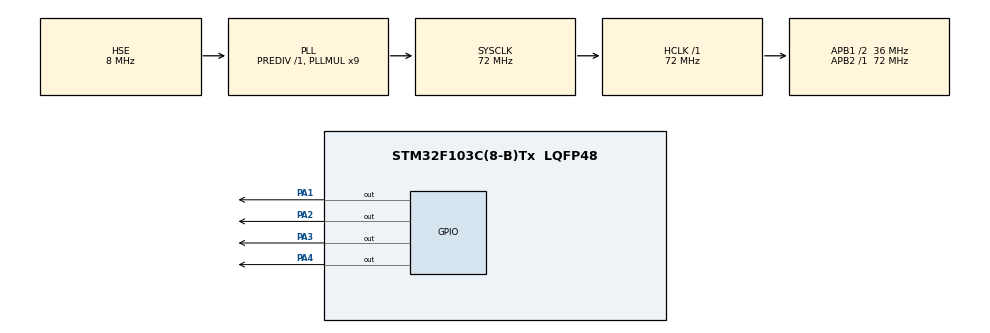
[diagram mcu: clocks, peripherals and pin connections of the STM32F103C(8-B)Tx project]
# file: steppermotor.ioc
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Mcu.Family=STM32F1
Mcu.Name=STM32F103C(8-B)Tx
Mcu.Package=LQFP48
NVIC.PriorityGroup=NVIC_PRIORITYGROUP_4
PA1.Signal=GPIO_Output
PA13.Mode=Serial_Wire
PA13.Signal=SYS_JTMS-SWDIO
PA14.Mode=Serial_Wire
PA14.Signal=SYS_JTCK-SWCLK
PA2.Signal=GPIO_Output
PA3.Signal=GPIO_Output
PA4.Signal=GPIO_Output
PD0-OSC_IN.Mode=HSE-External-Oscillator
PD0-OSC_IN.Signal=RCC_OSC_IN
PD1-OSC_OUT.Mode=HSE-External-Oscillator
PD1-OSC_OUT.Signal=RCC_OSC_OUT
ProjectManager.HeapSize=0x200
ProjectManager.StackSize=0x400
ProjectManager.TargetToolchain=STM32CubeIDE
RCC.AHBFreq_Value=72000000
RCC.APB1CLKDivider=RCC_HCLK_DIV2
RCC.APB1Freq_Value=36000000
RCC.APB1TimFreq_Value=72000000
RCC.APB2Freq_Value=72000000
RCC.APB2TimFreq_Value=72000000
RCC.HCLKFreq_Value=72000000
RCC.PLLMUL=RCC_PLL_MUL9
RCC.PLLSourceVirtual=RCC_PLLSOURCE_HSE
RCC.SYSCLKFreq_VALUE=72000000
RCC.SYSCLKSource=RCC_SYSCLKSOURCE_PLLCLK
RCC.USBFreq_Value=72000000
TIM1.Prescaler=71
VP_TIM1_VS_ClockSourceINT.Mode=Internal
board=custom

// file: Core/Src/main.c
/* USER CODE BEGIN Header */
/**
  ******************************************************************************
  * @file           : main.c
  * @brief          : Main program body
  ******************************************************************************
  * @attention
  *
  * Copyright (c) 2024 STMicroelectronics.
  * All rights reserved.
  *
  * This software is licensed under terms that can be found in the LICENSE file
  * in the root directory of this software component.
  * If no LICENSE file comes with this software, it is provided AS-IS.
  *
  ******************************************************************************
  */
/* USER CODE END Header */
#include "main.h"

TIM_HandleTypeDef htim1;

void SystemClock_Config(void);
static void MX_GPIO_Init(void);
static void MX_TIM1_Init(void);

/* USER CODE BEGIN 0 */
void delay (uint16_t us)
{
  __HAL_TIM_SET_COUNTER(&htim1, 0);
  while (__HAL_TIM_GET_COUNTER(&htim1) < us);
}
#define stepsperrev 4096
void stepper_set_rpm (int rpm)  // Set rpm--> max 13, min 1,,,  went to 14 rev/min
{
	delay(60000000/stepsperrev/rpm);
}
void stepper_half_drive (int step)
{
	switch (step){
		case 0:
			  HAL_GPIO_WritePin(GPIOA, GPIO_PIN_1, GPIO_PIN_SET);   // IN1
			  HAL_GPIO_WritePin(GPIOA, GPIO_PIN_2, GPIO_PIN_RESET);   // IN2
			  HAL_GPIO_WritePin(GPIOA, GPIO_PIN_3, GPIO_PIN_RESET);   // IN3
			  HAL_GPIO_WritePin(GPIOA, GPIO_PIN_4, GPIO_PIN_RESET);   // IN4
			  break;

		case 1:
			  HAL_GPIO_WritePin(GPIOA, GPIO_PIN_1, GPIO_PIN_SET);   // IN1
			  HAL_GPIO_WritePin(GPIOA, GPIO_PIN_2, GPIO_PIN_SET);   // IN2
			  HAL_GPIO_WritePin(GPIOA, GPIO_PIN_3, GPIO_PIN_RESET);   // IN3
			  HAL_GPIO_WritePin(GPIOA, GPIO_PIN_4, GPIO_PIN_RESET);   // IN4
			  break;

		case 2:
			  HAL_GPIO_WritePin(GPIOA, GPIO_PIN_1, GPIO_PIN_RESET);   // IN1
			  HAL_GPIO_WritePin(GPIOA, GPIO_PIN_2, GPIO_PIN_SET);   // IN2
			  HAL_GPIO_WritePin(GPIOA, GPIO_PIN_3, GPIO_PIN_RESET);   // IN3
			  HAL_GPIO_WritePin(GPIOA, GPIO_PIN_4, GPIO_PIN_RESET);   // IN4
			  break;

		case 3:
			  HAL_GPIO_WritePin(GPIOA, GPIO_PIN_1, GPIO_PIN_RESET);   // IN1
			  HAL_GPIO_WritePin(GPIOA, GPIO_PIN_2, GPIO_PIN_SET);   // IN2
			  HAL_GPIO_WritePin(GPIOA, GPIO_PIN_3, GPIO_PIN_SET);   // IN3
			  HAL_GPIO_WritePin(GPIOA, GPIO_PIN_4, GPIO_PIN_RESET);   // IN4
			  break;

		case 4:
			  HAL_GPIO_WritePin(GPIOA, GPIO_PIN_1, GPIO_PIN_RESET);   // IN1
			  HAL_GPIO_WritePin(GPIOA, GPIO_PIN_2, GPIO_PIN_RESET);   // IN2
			  HAL_GPIO_WritePin(GPIOA, GPIO_PIN_3, GPIO_PIN_SET);   // IN3
			  HAL_GPIO_WritePin(GPIOA, GPIO_PIN_4, GPIO_PIN_RESET);   // IN4
			  break;

		case 5:
			  HAL_GPIO_WritePin(GPIOA, GPIO_PIN_1, GPIO_PIN_RESET);   // IN1
			  HAL_GPIO_WritePin(GPIOA, GPIO_PIN_2, GPIO_PIN_RESET);   // IN2
			  HAL_GPIO_WritePin(GPIOA, GPIO_PIN_3, GPIO_PIN_SET);   // IN3
			  HAL_GPIO_WritePin(GPIOA, GPIO_PIN_4, GPIO_PIN_SET);   // IN4
			  break;

		case 6:
			  HAL_GPIO_WritePin(GPIOA, GPIO_PIN_1, GPIO_PIN_RESET);   // IN1
			  HAL_GPIO_WritePin(GPIOA, GPIO_PIN_2, GPIO_PIN_RESET);   // IN2
			  HAL_GPIO_WritePin(GPIOA, GPIO_PIN_3, GPIO_PIN_RESET);   // IN3
			  HAL_GPIO_WritePin(GPIOA, GPIO_PIN_4, GPIO_PIN_SET);   // IN4
			  break;

		case 7:
			  HAL_GPIO_WritePin(GPIOA, GPIO_PIN_1, GPIO_PIN_SET);   // IN1
			  HAL_GPIO_WritePin(GPIOA, GPIO_PIN_2, GPIO_PIN_RESET);   // IN2
			  HAL_GPIO_WritePin(GPIOA, GPIO_PIN_3, GPIO_PIN_RESET);   // IN3
			  HAL_GPIO_WritePin(GPIOA, GPIO_PIN_4, GPIO_PIN_SET);   // IN4
			  break;

		}
}
void stepper_step_angle (float angle, int direction, int rpm)
{
	float anglepersequence = 0.703125;  //(goc quay cua 1 chuoi): 360 do = 512 sequences(512 chuoi/1 vong quay)
	int numberofsequences = (int) (angle/anglepersequence); //so luong chuoi can quay

	for (int seq=0; seq<numberofsequences; seq++)
	{
		if (direction == 0)  // for clockwise
		{
			for (int step=7; step>=0; step--)
			{
				stepper_half_drive(step);
				stepper_set_rpm(rpm);
			}

		}

		else if (direction == 1)  // for anti-clockwise
		{
			for (int step=0; step<8; step++)
			{
				stepper_half_drive(step);
				stepper_set_rpm(rpm);
			}
		}
	}
}
/* USER CODE END 0 */

int main(void)
{

  /* MCU Configuration--------------------------------------------------------*/

  /* Reset of all peripherals, Initializes the Flash interface and the Systick. */
  HAL_Init();

  /* Configure the system clock */
  SystemClock_Config();

  /* Initialize all configured peripherals */
  MX_GPIO_Init();
  MX_TIM1_Init();
  /* USER CODE BEGIN 2 */
  HAL_TIM_Base_Start(&htim1);
  /* USER CODE END 2 */

  /* Infinite loop */
  while (1)
  {

    /* USER CODE BEGIN 3 */
	  /*check vong quay cua stepper motor*/
//	  for(int i=0;i<512;i++)
//	  {
//		  for(int i=0;i<8;i++)
//		  {
//		  stepper_half_drive(i);
//		  stepper_set_rpm(10);
//		  }
//	  }

	stepper_step_angle(90, 0, 13); // dieu khien stepper motor
	HAL_Delay(1000);
  }
  /* USER CODE END 3 */
}

void SystemClock_Config(void)
{
  RCC_OscInitTypeDef RCC_OscInitStruct = {0};
  RCC_ClkInitTypeDef RCC_ClkInitStruct = {0};

  /** Initializes the RCC Oscillators according to the specified parameters
  * in the RCC_OscInitTypeDef structure.
  */
  RCC_OscInitStruct.OscillatorType = RCC_OSCILLATORTYPE_HSE;
  RCC_OscInitStruct.HSEState = RCC_HSE_ON;
  RCC_OscInitStruct.HSEPredivValue = RCC_HSE_PREDIV_DIV1;
  RCC_OscInitStruct.HSIState = RCC_HSI_ON;
  RCC_OscInitStruct.PLL.PLLState = RCC_PLL_ON;
  RCC_OscInitStruct.PLL.PLLSource = RCC_PLLSOURCE_HSE;
  RCC_OscInitStruct.PLL.PLLMUL = RCC_PLL_MUL9;
  if (HAL_RCC_OscConfig(&RCC_OscInitStruct) != HAL_OK)
  {
    Error_Handler();
  }

  /** Initializes the CPU, AHB and APB buses clocks
  */
  RCC_ClkInitStruct.ClockType = RCC_CLOCKTYPE_HCLK|RCC_CLOCKTYPE_SYSCLK
                              |RCC_CLOCKTYPE_PCLK1|RCC_CLOCKTYPE_PCLK2;
  RCC_ClkInitStruct.SYSCLKSource = RCC_SYSCLKSOURCE_PLLCLK;
  RCC_ClkInitStruct.AHBCLKDivider = RCC_SYSCLK_DIV1;
  RCC_ClkInitStruct.APB1CLKDivider = RCC_HCLK_DIV2;
  RCC_ClkInitStruct.APB2CLKDivider = RCC_HCLK_DIV1;

  if (HAL_RCC_ClockConfig(&RCC_ClkInitStruct, FLASH_LATENCY_2) != HAL_OK)
  {
    Error_Handler();
  }
}

static void MX_TIM1_Init(void)
{

  TIM_ClockConfigTypeDef sClockSourceConfig = {0};
  TIM_MasterConfigTypeDef sMasterConfig = {0};

  htim1.Instance = TIM1;
  htim1.Init.Prescaler = 71;
  htim1.Init.CounterMode = TIM_COUNTERMODE_UP;
  htim1.Init.Period = 65535;
  htim1.Init.ClockDivision = TIM_CLOCKDIVISION_DIV1;
  htim1.Init.RepetitionCounter = 0;
  htim1.Init.AutoReloadPreload = TIM_AUTORELOAD_PRELOAD_DISABLE;
  if (HAL_TIM_Base_Init(&htim1) != HAL_OK)
  {
    Error_Handler();
  }
  sClockSourceConfig.ClockSource = TIM_CLOCKSOURCE_INTERNAL;
  if (HAL_TIM_ConfigClockSource(&htim1, &sClockSourceConfig) != HAL_OK)
  {
    Error_Handler();
  }
  sMasterConfig.MasterOutputTrigger = TIM_TRGO_RESET;
  sMasterConfig.MasterSlaveMode = TIM_MASTERSLAVEMODE_DISABLE;
  if (HAL_TIMEx_MasterConfigSynchronization(&htim1, &sMasterConfig) != HAL_OK)
  {
    Error_Handler();
  }

}

static void MX_GPIO_Init(void)
{
  GPIO_InitTypeDef GPIO_InitStruct = {0};

  /* GPIO Ports Clock Enable */
  __HAL_RCC_GPIOD_CLK_ENABLE();
  __HAL_RCC_GPIOA_CLK_ENABLE();

  /*Configure GPIO pin Output Level */
  HAL_GPIO_WritePin(GPIOA, GPIO_PIN_1|GPIO_PIN_2|GPIO_PIN_3|GPIO_PIN_4, GPIO_PIN_RESET);

  /*Configure GPIO pins : PA1 PA2 PA3 PA4 */
  GPIO_InitStruct.Pin = GPIO_PIN_1|GPIO_PIN_2|GPIO_PIN_3|GPIO_PIN_4;
  GPIO_InitStruct.Mode = GPIO_MODE_OUTPUT_PP;
  GPIO_InitStruct.Pull = GPIO_NOPULL;
  GPIO_InitStruct.Speed = GPIO_SPEED_FREQ_LOW;
  HAL_GPIO_Init(GPIOA, &GPIO_InitStruct);

}

void Error_Handler(void)
{
  __disable_irq();
  while (1)
  {
  }
}
